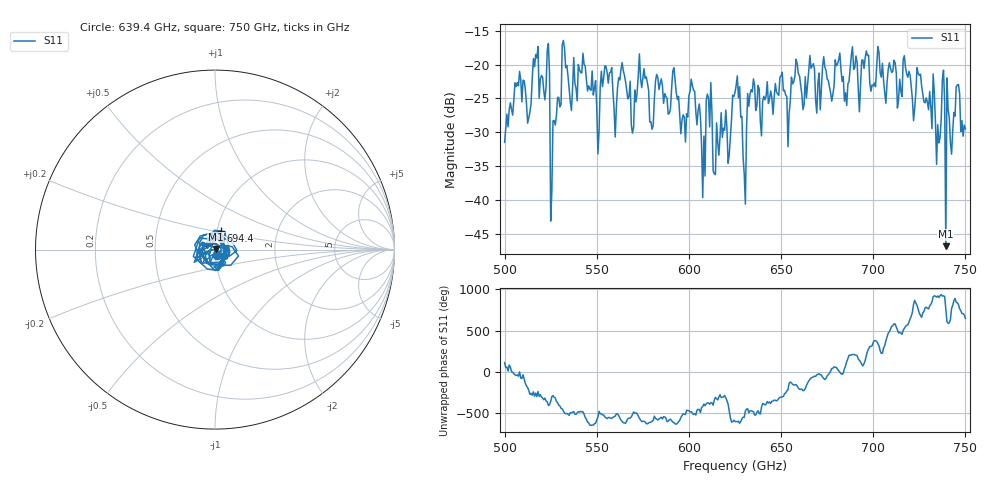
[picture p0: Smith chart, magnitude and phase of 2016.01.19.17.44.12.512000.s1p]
!Created with skrf (http://scikit-rf.org).
# GHz S RI R 50.0
!freq ReS11 ImS11
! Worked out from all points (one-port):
!   401 points, 500 GHz to 750 GHz, reference 50 ohm
!   lowest |S11| = -46.9 dB at 739.4 GHz (marker M1), VSWR 1.01, Z = 50.4 + j0.289 ohm
!   |S11| at or under -10 dB: start of sweep to end of sweep
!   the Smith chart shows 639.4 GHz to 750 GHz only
!   S11 on the Smith chart (normalised r, x): 639.4 GHz: 1.02, -0.06; 694.4 GHz: 1.04, +0.22; 750 GHz: 1.02, -0.06
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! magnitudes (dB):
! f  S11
! 500 GHz  -31.5
! 506.9 GHz  -22.6
! 513.1 GHz  -27.8
! 516.9 GHz  -18.5
! 523.1 GHz  -17.9
! 526.2 GHz  -28.3
! 531.2 GHz  -17.1
! 550 GHz  -26.4
! 562.5 GHz  -22.3
! 570 GHz  -29.3
! 574.4 GHz  -23.4
! 580 GHz  -29.6
! 583.1 GHz  -21.9
! 593.8 GHz  -25.2
! 601.9 GHz  -23.1
! 607.5 GHz  -39.7
! 610.6 GHz  -24.9
! 614.4 GHz  -36.3
! 625 GHz  -24.1
! 630 GHz  -36.2
! 634.4 GHz  -24.1
! 639.4 GHz  -30.5
! 656.2 GHz  -22.8
! 687.5 GHz  -20.5
! 694.4 GHz  -19.3
! 718.8 GHz  -21.9
! 739.4 GHz  -46.9
! 750 GHz  -29.5
